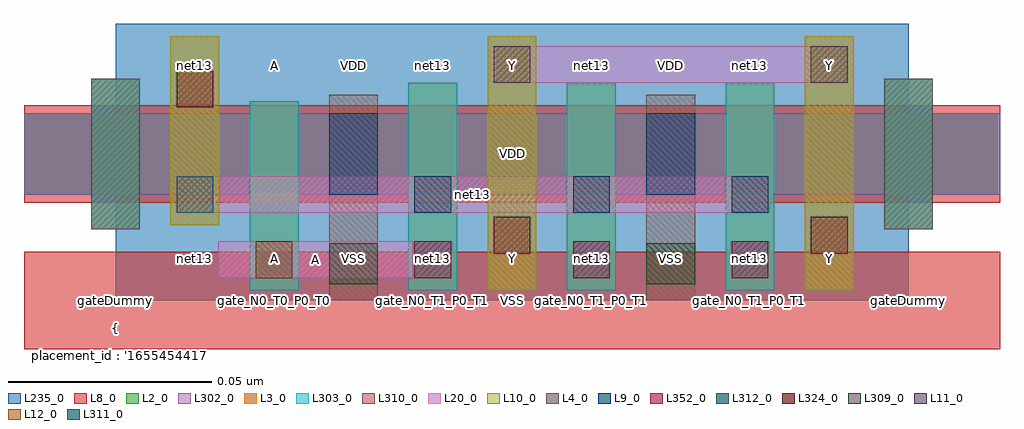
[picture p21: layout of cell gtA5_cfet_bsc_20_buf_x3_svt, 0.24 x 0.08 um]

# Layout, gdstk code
import gdstk
lib = gdstk.Library(unit=1e-6, precision=2.5e-10)
def R(c, l, rs):  # rectangles x0, y0, x1, y1
    for r in rs: c.add(gdstk.rectangle(r[:2], r[2:], *l))
def A(c, l, x, y, w, h, nx, ny, dx, dy):  # array of equal rectangles
    R(c, l, [(x+i*dx, y+j*dy, x+i*dx+w, y+j*dy+h) for i in range(nx) for j in range(ny)])
L2_0 = (2, 0)
L3_0 = (3, 0)
L4_0 = (4, 0)
L8_0 = (8, 0)
L9_0 = (9, 0)
L10_0 = (10, 0)
L11_0 = (11, 0)
L12_0 = (12, 0)
L20_0 = (20, 0)
L235_0 = (235, 0)
L302_0 = (302, 0)
L303_0 = (303, 0)
L309_0 = (309, 0)
L310_0 = (310, 0)
L311_0 = (311, 0)
L312_0 = (312, 0)
L324_0 = (324, 0)
L352_0 = (352, 0)

gta5_cfet_bsc_20_buf_x3_ = lib.new_cell('gtA5_cfet_bsc_20_buf_x3_svt')
R(gta5_cfet_bsc_20_buf_x3_, L2_0, [(-0.0225,0.026,0.2175,0.046)])
A(gta5_cfet_bsc_20_buf_x3_, L3_0, 0.072, 0.0025, 0.012, 0.051, 3, 1, 0.039, 0)
R(gta5_cfet_bsc_20_buf_x3_, L3_0, [(0.033,0.0025,0.045,0.049), (-0.006,0.0175,0.006,0.0545), (0.189,0.0175,0.201,0.0545)])
R(gta5_cfet_bsc_20_buf_x3_, L4_0, [(-0.006,0.0175,0.006,0.0545), (0.189,0.0175,0.201,0.0545)])
R(gta5_cfet_bsc_20_buf_x3_, L8_0, [(-0.0225,-0.012,0.2175,0.012), (-0.0225,0.024,0.2175,0.048)])
R(gta5_cfet_bsc_20_buf_x3_, L9_0, [(0.0525,0.026,0.0645,0.046), (0.1305,0.026,0.1425,0.046)])
R(gta5_cfet_bsc_20_buf_x3_, L10_0, [(0.0915,0.0025,0.1035,0.065), (0.1695,0.0025,0.1815,0.065), (0.0135,0.0185,0.0255,0.065)])
R(gta5_cfet_bsc_20_buf_x3_, L11_0, [(0.093,0.0535,0.102,0.0625), (0.171,0.0535,0.18,0.0625)])
R(gta5_cfet_bsc_20_buf_x3_, L12_0, [(0.0345,0.0055,0.0435,0.0145)])
R(gta5_cfet_bsc_20_buf_x3_, L20_0, [(0.0253,0.0055,0.0732,0.0145), (0.015,0.0215,0.1605,0.0305), (0.092,0.0535,0.18,0.0625)])
R(gta5_cfet_bsc_20_buf_x3_, L235_0, [(0,0,0.195,0.068)])
R(gta5_cfet_bsc_20_buf_x3_, L302_0, [(-0.0225,0.026,0.2175,0.046)])
A(gta5_cfet_bsc_20_buf_x3_, L303_0, 0.072, 0.0025, 0.012, 0.051, 3, 1, 0.039, 0)
R(gta5_cfet_bsc_20_buf_x3_, L303_0, [(0.033,0.0025,0.045,0.049), (-0.006,0.0175,0.006,0.0545), (0.189,0.0175,0.201,0.0545)])
R(gta5_cfet_bsc_20_buf_x3_, L309_0, [(0.0525,0.004,0.0645,0.014), (0.1305,0.004,0.1425,0.014)])
R(gta5_cfet_bsc_20_buf_x3_, L310_0, [(0.0525,0,0.0645,0.0505), (0.1305,0,0.1425,0.0505), (0.0915,0.0025,0.1035,0.065), (0.1695,0.0025,0.1815,0.065), (0.0135,0.0185,0.0255,0.065)])
R(gta5_cfet_bsc_20_buf_x3_, L311_0, [(0.015,0.0215,0.024,0.0305)])
A(gta5_cfet_bsc_20_buf_x3_, L312_0, 0.0735, 0.0215, 0.009, 0.009, 3, 1, 0.039, 0)
R(gta5_cfet_bsc_20_buf_x3_, L324_0, [(0.093,0.0115,0.102,0.0205), (0.171,0.0115,0.18,0.0205), (0.015,0.0475,0.024,0.0565)])
A(gta5_cfet_bsc_20_buf_x3_, L352_0, 0.0735, 0.0055, 0.009, 0.009, 3, 1, 0.039, 0)
gta5_cfet_bsc_20_buf_x3_.add(gdstk.Label('net13', (0.0878,0.026), layer=100, texttype=100))
gta5_cfet_bsc_20_buf_x3_.add(gdstk.Label('gateDummy', (0,0), layer=103, texttype=103))
gta5_cfet_bsc_20_buf_x3_.add(gdstk.Label('sd_N0_T1_P0_T1', (0.0195,0), layer=103, texttype=103))
gta5_cfet_bsc_20_buf_x3_.add(gdstk.Label('gate_N0_T0_P0_T0', (0.039,0), layer=103, texttype=103))
gta5_cfet_bsc_20_buf_x3_.add(gdstk.Label('sd_N0_VSS_P0_VDD', (0.0585,0), layer=103, texttype=103))
gta5_cfet_bsc_20_buf_x3_.add(gdstk.Label('gate_N0_T1_P0_T1', (0.078,0), layer=103, texttype=103))
gta5_cfet_bsc_20_buf_x3_.add(gdstk.Label('sd_N0_T3_P0_T3', (0.0975,0), layer=103, texttype=103))
gta5_cfet_bsc_20_buf_x3_.add(gdstk.Label('gate_N0_T1_P0_T1', (0.117,0), layer=103, texttype=103))
gta5_cfet_bsc_20_buf_x3_.add(gdstk.Label('sd_N0_VSS_P0_VDD', (0.1365,0), layer=103, texttype=103))
gta5_cfet_bsc_20_buf_x3_.add(gdstk.Label('gate_N0_T1_P0_T1', (0.156,0), layer=103, texttype=103))
gta5_cfet_bsc_20_buf_x3_.add(gdstk.Label('sd_N0_T3_P0_T3', (0.1755,0), layer=103, texttype=103))
gta5_cfet_bsc_20_buf_x3_.add(gdstk.Label('gateDummy', (0.195,0), layer=103, texttype=103))
gta5_cfet_bsc_20_buf_x3_.add(gdstk.Label('}', (0,-0.0742), layer=104, texttype=104))
gta5_cfet_bsc_20_buf_x3_.add(gdstk.Label('  power : None', (0,-0.0675), layer=104, texttype=104))
gta5_cfet_bsc_20_buf_x3_.add(gdstk.Label('  performance : None', (0,-0.0607), layer=104, texttype=104))
gta5_cfet_bsc_20_buf_x3_.add(gdstk.Label("  solution_hash : '8950959005938664719'", (0,-0.054), layer=104, texttype=104))
gta5_cfet_bsc_20_buf_x3_.add(gdstk.Label('  number_m2 : 0', (0,-0.0473), layer=104, texttype=104))
gta5_cfet_bsc_20_buf_x3_.add(gdstk.Label('  number_m1 : 0', (0,-0.0405), layer=104, texttype=104))
gta5_cfet_bsc_20_buf_x3_.add(gdstk.Label('  number_m0cuts : 0', (0,-0.0338), layer=104, texttype=104))
gta5_cfet_bsc_20_buf_x3_.add(gdstk.Label('  number_m0 : 3', (0,-0.027), layer=104, texttype=104))
gta5_cfet_bsc_20_buf_x3_.add(gdstk.Label("  solution_number : '0000'", (0,-0.0203), layer=104, texttype=104))
gta5_cfet_bsc_20_buf_x3_.add(gdstk.Label("  placement_id : '16554544176148199252'", (0,-0.0135), layer=104, texttype=104))
gta5_cfet_bsc_20_buf_x3_.add(gdstk.Label('{', (0,-0.0067), layer=104, texttype=104))
gta5_cfet_bsc_20_buf_x3_.add(gdstk.Label('net13', (0.0195,0.0103), layer=105, texttype=105))
gta5_cfet_bsc_20_buf_x3_.add(gdstk.Label('A', (0.039,0.0103), layer=105, texttype=105))
gta5_cfet_bsc_20_buf_x3_.add(gdstk.Label('VSS', (0.0585,0.0103), layer=105, texttype=105))
gta5_cfet_bsc_20_buf_x3_.add(gdstk.Label('net13', (0.078,0.0103), layer=105, texttype=105))
gta5_cfet_bsc_20_buf_x3_.add(gdstk.Label('Y', (0.0975,0.0103), layer=105, texttype=105))
gta5_cfet_bsc_20_buf_x3_.add(gdstk.Label('net13', (0.117,0.0103), layer=105, texttype=105))
gta5_cfet_bsc_20_buf_x3_.add(gdstk.Label('VSS', (0.1365,0.0103), layer=105, texttype=105))
gta5_cfet_bsc_20_buf_x3_.add(gdstk.Label('net13', (0.156,0.0103), layer=105, texttype=105))
gta5_cfet_bsc_20_buf_x3_.add(gdstk.Label('Y', (0.1755,0.0103), layer=105, texttype=105))
gta5_cfet_bsc_20_buf_x3_.add(gdstk.Label('net13', (0.0195,0.0578), layer=105, texttype=105))
gta5_cfet_bsc_20_buf_x3_.add(gdstk.Label('A', (0.039,0.0578), layer=105, texttype=105))
gta5_cfet_bsc_20_buf_x3_.add(gdstk.Label('VDD', (0.0585,0.0578), layer=105, texttype=105))
gta5_cfet_bsc_20_buf_x3_.add(gdstk.Label('net13', (0.078,0.0578), layer=105, texttype=105))
gta5_cfet_bsc_20_buf_x3_.add(gdstk.Label('Y', (0.0975,0.0578), layer=105, texttype=105))
gta5_cfet_bsc_20_buf_x3_.add(gdstk.Label('net13', (0.117,0.0578), layer=105, texttype=105))
gta5_cfet_bsc_20_buf_x3_.add(gdstk.Label('VDD', (0.1365,0.0578), layer=105, texttype=105))
gta5_cfet_bsc_20_buf_x3_.add(gdstk.Label('net13', (0.156,0.0578), layer=105, texttype=105))
gta5_cfet_bsc_20_buf_x3_.add(gdstk.Label('Y', (0.1755,0.0578), layer=105, texttype=105))
gta5_cfet_bsc_20_buf_x3_.add(gdstk.Label('VSS', (0.0975,0), layer=8, texttype=0))
gta5_cfet_bsc_20_buf_x3_.add(gdstk.Label('VDD', (0.0975,0.036), layer=8, texttype=0))
gta5_cfet_bsc_20_buf_x3_.add(gdstk.Label('A', (0.0493,0.01), layer=20, texttype=251))
gta5_cfet_bsc_20_buf_x3_.add(gdstk.Label('Y', (0.136,0.058), layer=20, texttype=251))
gta5_cfet_bsc_20_buf_x3_.add(gdstk.Label('gtA5_cfet_bsc_20nm_buf_x3_rvt_0', (0,0), layer=235, texttype=0))

lib.write_gds('gtA5_cfet_bsc_20_buf_x3_svt.gds')
